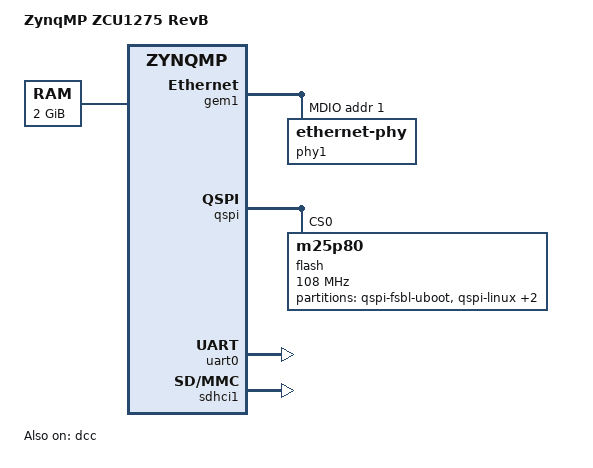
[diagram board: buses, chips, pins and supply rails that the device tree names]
// SPDX-License-Identifier: GPL-2.0
/*
 * dts file for Xilinx ZynqMP ZCU1275 RevB
 *
 * (C) Copyright 2018 - 2021, Xilinx, Inc.
 *
 * Michal Simek <michal.simek@amd.com>
 * Siva Durga Prasad Paladugu <siva.durga.prasad.paladugu@amd.com>
 */

/dts-v1/;

#include "zynqmp.dtsi"
#include "zynqmp-clk-ccf.dtsi"

/ {
	model = "ZynqMP ZCU1275 RevB";
	compatible = "xlnx,zynqmp-zcu1275-revB", "xlnx,zynqmp-zcu1275",
		     "xlnx,zynqmp";

	aliases {
		serial0 = &uart0;
		serial1 = &dcc;
		spi0 = &qspi;
		mmc0 = &sdhci1;
		ethernet0 = &gem1;
	};

	chosen {
		bootargs = "earlycon";
		stdout-path = "serial0:115200n8";
	};

	memory@0 {
		device_type = "memory";
		reg = <0x0 0x0 0x0 0x80000000>;
	};
};

&dcc {
	status = "okay";
};

&gem1 {
	status = "okay";
	mdio {
		#address-cells = <1>;
		#size-cells = <0>;
		phy1: ethernet-phy@1 {
			reg = <1>; /* KSZ9031RNXIC on AES-FMC-NETW1-G */
			rxc-skew-ps = <1800>; /* Skew control of RX_CLK pad output */
			txc-skew-ps = <1800>; /* Skew control of GTX_CLK pad input */
			txen-skew-ps = <900>; /* Skew control of TX_CTL pad input */
			rxdv-skew-ps = <0>; /* Skew control of RX_CTL pad output */
			rxd0-skew-ps = <0>; /* Skew control of RXD0 pad output */
			rxd1-skew-ps = <0>; /* Skew control of RXD1 pad output */
			rxd2-skew-ps = <0>; /* Skew control of RXD2 pad output */
			rxd3-skew-ps = <0>; /* Skew control of RXD3 pad output */
			txd0-skew-ps = <900>; /* Skew control of TXD0 pad input */
			txd1-skew-ps = <900>; /* Skew control of TXD1 pad input */
			txd2-skew-ps = <900>; /* Skew control of TXD2 pad input */
			txd3-skew-ps = <900>; /* Skew control of TXD3 pad input */
		};
	};
};

&gpio {
	status = "okay";
};

&qspi {
	status = "okay";
	flash@0 {
		compatible = "m25p80", "jedec,spi-nor"; /* 32MB */
		#address-cells = <1>;
		#size-cells = <1>;
		reg = <0x0>;
		spi-tx-bus-width = <1>;
		spi-rx-bus-width = <1>;
		spi-max-frequency = <108000000>; /* Based on DC1 spec */
		partition@0 { /* for testing purpose */
			label = "qspi-fsbl-uboot";
			reg = <0x0 0x100000>;
		};
		partition@100000 { /* for testing purpose */
			label = "qspi-linux";
			reg = <0x100000 0x500000>;
		};
		partition@600000 { /* for testing purpose */
			label = "qspi-device-tree";
			reg = <0x600000 0x20000>;
		};
		partition@620000 { /* for testing purpose */
			label = "qspi-rootfs";
			reg = <0x620000 0x5E0000>;
		};
	};
};

&uart0 {
	status = "okay";
};

&sdhci1 {
	status = "okay";
	/*
	 * 1.0 revision has level shifter and this property should be
	 * removed for supporting UHS mode
	 */
	no-1-8-v;
	xlnx,mio-bank = <1>;
};
